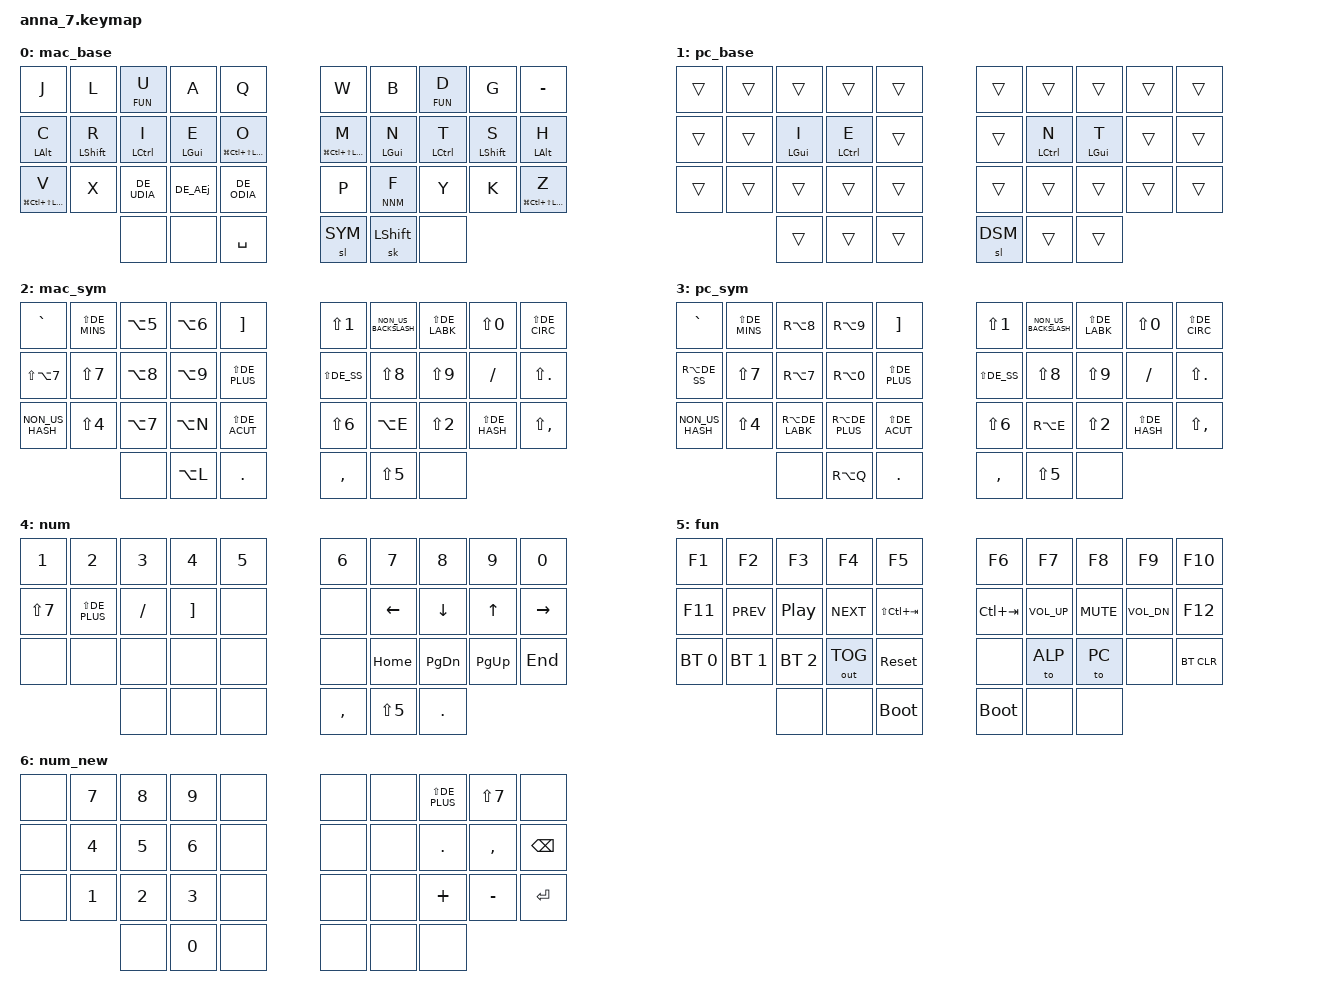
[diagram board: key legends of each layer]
/*
 * Copyright (c) 2021 The ZMK Contributors
 *
 * SPDX-License-Identifier: MIT
 */

#include <behaviors.dtsi>
#include <dt-bindings/zmk/keys.h>
#include <dt-bindings/zmk/bt.h>
#include <dt-bindings/zmk/outputs.h>

/* UNIVERSAL GERMAN KEY CODES */
#define DE_Z    Y             // Z
#define DE_Y    Z             // Y
#define DE_SS   MINUS         // ß


/* MAC GERMAN KEYBOARD CODES */
#define MAC_AT LA(L)           // @
#define MAC_EURO LA(E)         // €
#define MAC_TILD LA(N)         // ~
#define MAC_BSLS LS(LA(NUMBER_7)) // (backslash)
#define MAC_LBRC LA(NUMBER_5)     // [
#define MAC_RBRC LA(NUMBER_6)     // ]
#define MAC_PIPE LA(NUMBER_7)     // |
#define MAC_LCBR LA(NUMBER_8)     // {
#define MAC_RCBR LA(NUMBER_9)     // }

/* DIN GERMAN KEYBOARD CODES */
#define DE_CIRC GRAVE // ^ (dead)
#define DE_ACUT EQUAL // ´ (dead)
#define DE_UNDS LS(DE_MINS) // _
#define DE_UDIA LEFT_BRACKET // Ü
#define DE_PLUS RIGHT_BRACKET // +
#define DE_ODIA SEMICOLON    // Ö
#define DE_ADIA SINGLE_QUOTE // Ä
#define DE_HASH NON_US_HASH  // #
#define DE_LABK NON_US_BACKSLASH // <
#define DE_EXLM LS(NUMBER_1)    // !
#define DE_DQUO LS(NUMBER_2)    // "
#define DE_SECT LS(NUMBER_3)    // §
#define DE_DLR  LS(NUMBER_4)    // $
#define DE_PERC LS(NUMBER_5)    // %
#define DE_AMPR LS(NUMBER_6)    // &
#define DE_SLSH LS(NUMBER_7)    // /
#define DE_LPRN LS(NUMBER_8)    // (
#define DE_RPRN LS(NUMBER_9)    // )
#define DE_EQL  LS(NUMBER_0)    // =
#define DE_MINS SLASH            // -
#define DE_DEG  LS(DE_CIRC) // °
#define DE_QUES LS(DE_SS)   // ?
#define DE_GRV  LS(DE_ACUT) // ` (dead)
#define DE_ASTR LS(DE_PLUS) // *
#define DE_QUOT LS(DE_HASH) // '
#define DE_RABK LS(DE_LABK) // >
#define DE_SCLN LS(COMMA) // ;
#define DE_COLN LS(PERIOD)  // :

#define DE_AT RA(Q)           // @
#define DE_EURO RA(E)         // €
#define DE_TILD RA(DE_PLUS)         // ~
#define DE_BSLS RA(DE_SS) // (backslash)
#define DE_LBRC RA(NUMBER_8)     // [
#define DE_RBRC RA(NUMBER_9)     // ]
#define DE_PIPE RA(DE_LABK)     // |
#define DE_LCBR RA(NUMBER_7)     // {
#define DE_RCBR RA(NUMBER_0)     // }


#define _____ &none

#define ALP 0
#define PC  1
#define SYM 2
#define DSM 3
#define NUM 4
#define FUN 5
#define NNM 6

#define DE_UE DE_UDIA
#define DE_AE DE_ADIA
#define DE_OE DE_ODIA

#define HYP LG(LC(LS(LALT))) 

&caps_word {
    continue-list = <DE_UNDS DE_MINS BACKSPACE DELETE>;
};

&mt {
  quick-tap-ms = <125>;
  global-quick-tap;
  flavor = "tap-preferred";
  tapping-term-ms = <250>;
};

&lt {
  quick-tap-ms = <125>;
  global-quick-tap;
  flavor = "tap-preferred";
  tapping-term-ms = <250>;
};

&sk {
    quick-release;
};

&sl {
    quick-release;
};

/{
    combos {
        compatible = "zmk,combos";

        combo_bsp {
            timeout-ms = <50>;
            key-positions = <7 8>;
            bindings = <&kp BACKSPACE>;
            layers = <0 1>;
        };

        combo_del {
            timeout-ms = <50>;
            key-positions = <16 7 8>;
            bindings = <&kp DELETE>;
            layers = <0 1>;
        };

        combo_enter {
            timeout-ms = <50>;
            key-positions = <17 18>;
            bindings = <&kp ENTER>;
            layers = <0 1>;
        };

        combo_esc {
            timeout-ms = <50>;
            key-positions = <1 2>;
            bindings = <&kp ESCAPE>;
            layers = <0 1>;
        };

        combo_tab {
            timeout-ms = <50>;
            key-positions = <11 12>;
            bindings = <&kp TAB>;
            layers = <0 1>;
        };

        combo_caps {
            timeout-ms = <50>;
            key-positions = <1 2 13>;
            bindings = <&caps_word>;
            layers = <0 1>;
        };

        
    };
};

/{   
  keymap {
    compatible = "zmk,keymap";

    mac_base {
      bindings = <
        &kp J      &kp L         &lt FUN U   &kp A      &kp Q     &kp W     &kp B      &lt FUN D   &kp G         &kp DE_SS
        &mt LALT C &mt LSHIFT R  &mt LCTRL I &mt LGUI E &mt HYP O &mt HYP M &mt LGUI N &mt LCTRL T &mt LSHIFT S  &mt LALT H
        &mt HYP V  &kp X         &kp DE_UE   &kp DE_AEj &kp DE_OE &kp P     &lt NNM F  &kp DE_Z    &kp K         &mt HYP DE_Y
                                 _____       _____      &kp SPACE &sl SYM   &sk LSHIFT _____
      >;
    };

    pc_base {
      bindings = <
        &trans &trans &trans     &trans      &trans    &trans  &trans      &trans     &trans &trans
        &trans &trans &mt LGUI I &mt LCTRL E &trans    &trans  &mt LCTRL N &mt LGUI T &trans &trans
        &trans &trans &trans     &trans      &trans    &trans  &trans      &trans     &trans &trans
                      &trans     &trans      &trans    &sl DSM &trans      &trans    
      >;
    };

    mac_sym {
      bindings = < 
        &kp DE_CIRC  &kp DE_UNDS &kp MAC_LBRC  &kp MAC_RBRC  &kp DE_PLUS &kp DE_EXLM &kp DE_LABK  &kp DE_RABK &kp DE_EQL  &kp DE_DEG
        &kp MAC_BSLS &kp DE_SLSH &kp MAC_LCBR  &kp MAC_RCBR  &kp DE_ASTR &kp DE_QUES &kp DE_LPRN  &kp DE_RPRN &kp DE_MINS &kp DE_COLN
        &kp DE_HASH  &kp DE_DLR  &kp MAC_PIPE  &kp MAC_TILD  &kp DE_GRV  &kp DE_AMPR &kp MAC_EURO &kp DE_DQUO &kp DE_QUOT &kp DE_SCLN
                     _____       &kp MAC_AT    &kp PERIOD    &kp COMMA   &kp DE_PERC _____  
      >;
    };


    pc_sym {
      bindings = <
        &kp DE_CIRC  &kp DE_UNDS &kp DE_LBRC  &kp DE_RBRC  &kp DE_PLUS &kp DE_EXLM &kp DE_LABK &kp DE_RABK &kp DE_EQL  &kp DE_DEG
        &kp DE_BSLS  &kp DE_SLSH &kp DE_LCBR  &kp DE_RCBR  &kp DE_ASTR &kp DE_QUES &kp DE_LPRN &kp DE_RPRN &kp DE_MINS &kp DE_COLN
        &kp DE_HASH  &kp DE_DLR  &kp DE_PIPE  &kp DE_TILD  &kp DE_GRV  &kp DE_AMPR &kp DE_EURO &kp DE_DQUO &kp DE_QUOT &kp DE_SCLN
                     _____       &kp DE_AT    &kp PERIOD   &kp COMMA   &kp DE_PERC _____  
      >;
    };
    
    num {
      bindings = <
        &kp N1      &kp N2      &kp N3      &kp N4      &kp N5 &kp N6    &kp N7      &kp N8    &kp N9    &kp N0  
        &kp DE_SLSH &kp DE_ASTR &kp DE_MINS &kp DE_PLUS _____  _____     &kp LEFT    &kp DOWN  &kp UP    &kp RIGHT 
        _____       _____       _____       _____       _____  _____     &kp HOME    &kp PG_DN &kp PG_UP &kp END
                                _____       _____       _____  &kp COMMA &kp DE_PERC &kp PERIOD 
      >;
    };

    fun {
      bindings = <
        &kp F1        &kp F2        &kp F3            &kp F4        &kp F5          &kp F6        &kp F7        &kp F8      &kp F9        &kp F10
        &kp F11       &kp C_PREV    &kp C_PLAY_PAUSE  &kp C_NEXT    &kp LS(LC(TAB)) &kp LC(TAB)   &kp C_VOL_UP  &kp C_MUTE  &kp C_VOL_DN  &kp F12
        &bt BT_SEL 0  &bt BT_SEL 1  &bt BT_SEL 2      &out OUT_TOG  &sys_reset      _____         &to ALP       &to PC      _____         &bt BT_CLR
                      _____         _____             &bootloader   &bootloader     _____         _____  
      >;
    };

    num_new {
      bindings = <
        _____ &kp 7 &kp 8 &kp 9 _____ _____ _____ &kp DE_ASTR &kp DE_SLSH _____
        _____ &kp 4 &kp 5 &kp 6 _____ _____ _____ &kp DOT     &kp COMMA   &kp BACKSPACE
        _____ &kp 1 &kp 2 &kp 3 _____ _____ _____ &kp PLUS    &kp MINUS   &kp ENTER
                    _____ &kp 0 _____ _____ _____ _____
      >;
    };
  };
};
